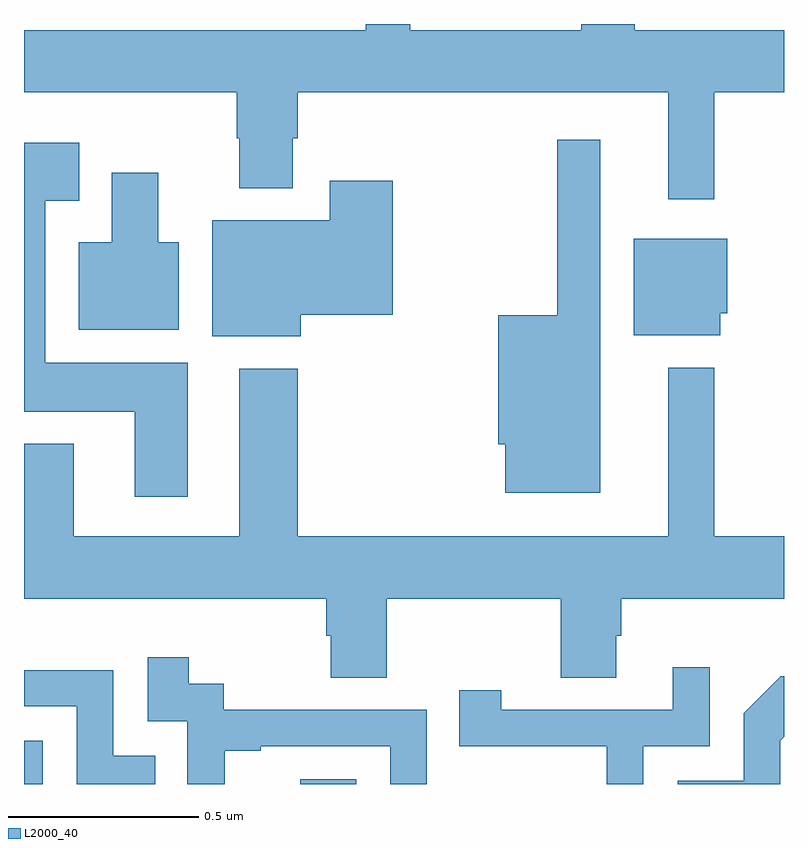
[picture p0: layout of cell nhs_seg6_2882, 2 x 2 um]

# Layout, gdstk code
import gdstk
lib = gdstk.Library(unit=1e-6, precision=1e-09)
def R(c, l, rs):  # rectangles x0, y0, x1, y1
    for r in rs: c.add(gdstk.rectangle(r[:2], r[2:], *l))
def P(c, l, *ps):  # polygons
    for p in ps: c.add(gdstk.Polygon(p, *l))
L2000_40 = (2000, 40)

nhs_seg6_2882 = lib.new_cell('nhs_seg6_2882')
R(nhs_seg6_2882, L2000_40, [(149,961.5,149.049,961.614), (149.727,961.5,149.874,961.513)])
P(nhs_seg6_2882, L2000_40, [(150.817,963.32),(151,963.32),(151,963.484),(150.607,963.484),(150.607,963.5),(150.467,963.5),(150.467,963.484),(150.017,963.484),(150.017,963.5),(149.899,963.5),(149.899,963.484),(149,963.484),(149,963.32),(149.56,963.32),(149.56,963.2),(149.567,963.2),(149.567,963.068),(149.707,963.068),(149.707,963.2),(149.72,963.2),(149.72,963.32),(150.695,963.32),(150.695,963.039),(150.817,963.039)],
  [(150.517,963.196),(150.403,963.196),(150.403,962.734),(150.248,962.734),(150.248,962.394),(150.266,962.394),(150.266,962.267),(150.517,962.267)],
  [(149.431,962.608),(149.056,962.608),(149.056,963.035),(149.146,963.035),(149.146,963.187),(149,963.187),(149,962.48),(149.291,962.48),(149.291,962.256),(149.431,962.256)],
  [(149.407,962.926),(149.353,962.926),(149.353,963.109),(149.231,963.109),(149.231,962.926),(149.144,962.926),(149.144,962.696),(149.407,962.696)],
  [(149.728,962.735),(149.97,962.735),(149.97,963.088),(149.804,963.088),(149.804,962.983),(149.495,962.983),(149.495,962.678),(149.728,962.678)],
  [(150.832,962.739),(150.85,962.739),(150.85,962.935),(150.605,962.935),(150.605,962.681),(150.832,962.681)],
  [(149.955,961.988),(150.412,961.988),(150.412,961.78),(150.559,961.78),(150.559,961.89),(150.572,961.89),(150.572,961.988),(151,961.988),(151,962.152),(150.817,962.152),(150.817,962.596),(150.695,962.596),(150.695,962.152),(149.72,962.152),(149.72,962.593),(149.567,962.593),(149.567,962.152),(149.131,962.152),(149.131,962.395),(149,962.395),(149,961.988),(149.795,961.988),(149.795,961.89),(149.807,961.89),(149.807,961.78),(149.955,961.78)],
  [(149.528,961.587),(149.623,961.587),(149.623,961.599),(149.964,961.599),(149.964,961.5),(150.06,961.5),(150.06,961.695),(149.526,961.695),(149.526,961.764),(149.434,961.764),(149.434,961.834),(149.325,961.834),(149.325,961.665),(149.43,961.665),(149.43,961.5),(149.528,961.5)],
  [(150.63,961.599),(150.804,961.599),(150.804,961.807),(150.707,961.807),(150.707,961.695),(150.256,961.695),(150.256,961.747),(150.145,961.747),(150.145,961.599),(150.534,961.599),(150.534,961.5),(150.63,961.5)],
  [(149.345,961.575),(149.235,961.575),(149.235,961.8),(149,961.8),(149,961.704),(149.139,961.704),(149.139,961.5),(149.345,961.5)],
  [(150.99,961.614),(151,961.624),(151,961.784),(150.992,961.784),(150.894,961.686),(150.894,961.509),(150.72,961.509),(150.72,961.5),(150.99,961.5)])

lib.write_gds('nhs_seg6_2882.gds')
